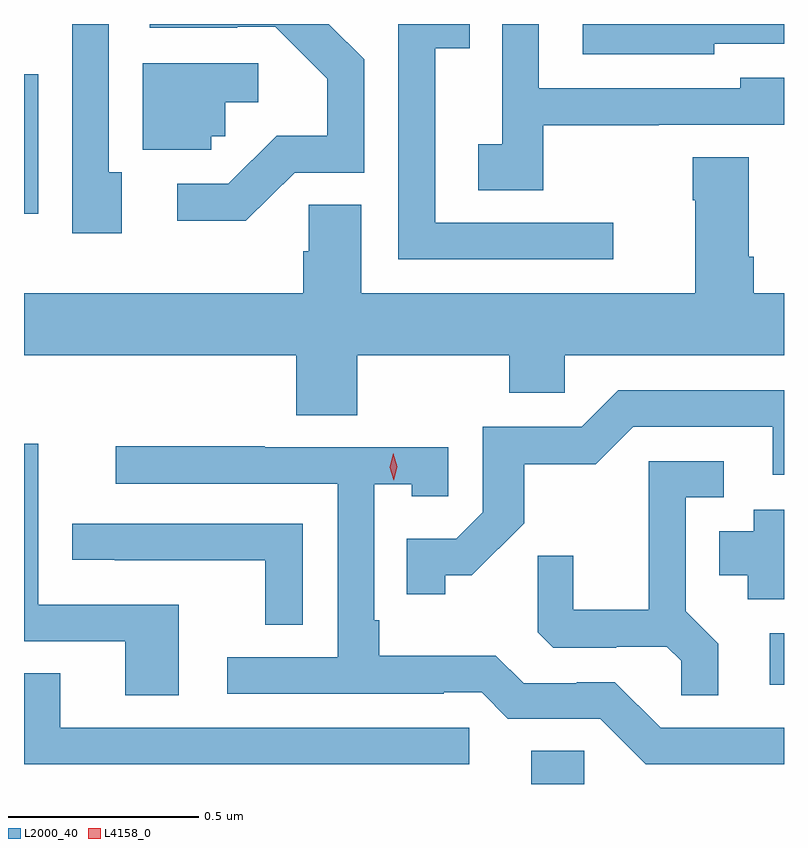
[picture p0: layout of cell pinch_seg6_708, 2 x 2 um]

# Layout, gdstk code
import gdstk
lib = gdstk.Library(unit=1e-6, precision=1e-09)
def R(c, l, rs):  # rectangles x0, y0, x1, y1
    for r in rs: c.add(gdstk.rectangle(r[:2], r[2:], *l))
def P(c, l, *ps):  # polygons
    for p in ps: c.add(gdstk.Polygon(p, *l))
L2000_40 = (2000, 40)
L4158_0 = (4158, 0)

pinch_seg6_708 = lib.new_cell('pinch_seg6_708')
R(pinch_seg6_708, L2000_40, [(481.103,948.872,481.242,948.959), (481.731,949.133,481.768,949.269), (479.768,950.373,479.805,950.74)])
P(pinch_seg6_708, L2000_40, [(481.135,950.605),(481.439,950.605),(481.439,950.607),(481.768,950.607),(481.768,950.731),(481.653,950.731),(481.653,950.703),(481.122,950.703),(481.122,950.872),(481.026,950.872),(481.026,950.556),(480.963,950.556),(480.963,950.434),(481.135,950.434)],
  [(481.318,950.349),(480.85,950.349),(480.85,950.808),(480.941,950.808),(480.941,950.872),(480.753,950.872),(480.753,950.253),(481.318,950.253)],
  [(480.025,950.482),(479.991,950.482),(479.991,950.872),(479.895,950.872),(479.895,950.322),(480.025,950.322)],
  [(480.48,950.481),(480.663,950.481),(480.663,950.779),(480.57,950.872),(480.099,950.872),(480.099,950.862),(480.329,950.862),(480.329,950.865),(480.429,950.865),(480.566,950.728),(480.566,950.578),(480.433,950.578),(480.306,950.451),(480.171,950.451),(480.171,950.354),(480.352,950.354)],
  [(481.584,950.82),(481.768,950.82),(481.768,950.872),(481.239,950.872),(481.239,950.793),(481.584,950.793)],
  [(480.261,950.577),(480.297,950.577),(480.297,950.666),(480.385,950.666),(480.385,950.769),(480.08,950.769),(480.08,950.541),(480.261,950.541)],
  [(480.645,950),(481.045,950),(481.045,949.902),(481.191,949.902),(481.191,950),(481.768,950),(481.768,950.164),(481.688,950.164),(481.688,950.26),(481.675,950.26),(481.675,950.521),(481.528,950.521),(481.528,950.408),(481.535,950.408),(481.535,950.164),(480.655,950.164),(480.655,950.396),(480.517,950.396),(480.517,950.274),(480.503,950.274),(480.503,950.164),(479.768,950.164),(479.768,950),(480.485,950),(480.485,949.843),(480.645,949.843)],
  [(480.876,949.421),(480.946,949.421),(481.084,949.558),(481.084,949.714),(481.273,949.714),(481.371,949.812),(481.739,949.812),(481.739,949.686),(481.768,949.686),(481.768,949.908),(481.332,949.908),(481.236,949.812),(480.975,949.812),(480.975,949.587),(480.906,949.518),(480.775,949.518),(480.775,949.371),(480.876,949.371)],
  [(480.175,949.344),(479.805,949.344),(479.805,949.768),(479.768,949.768),(479.768,949.248),(480.035,949.248),(480.035,949.105),(480.175,949.105)],
  [(481.768,949.02),(481.443,949.02),(481.323,949.14),(481.222,949.14),(481.222,949.137),(481.083,949.137),(481.01,949.21),(480.703,949.21),(480.703,949.303),(480.69,949.303),(480.69,949.661),(480.789,949.661),(480.789,949.629),(480.885,949.629),(480.885,949.758),(480.401,949.758),(480.401,949.761),(480.009,949.761),(480.009,949.662),(480.594,949.662),(480.594,949.206),(480.303,949.206),(480.303,949.11),(480.872,949.11),(480.872,949.113),(480.972,949.113),(481.041,949.044),(481.284,949.044),(481.404,948.924),(481.768,948.924)],
  [(481.595,949.241),(481.509,949.327),(481.509,949.626),(481.609,949.626),(481.609,949.722),(481.412,949.722),(481.412,949.33),(481.214,949.33),(481.214,949.473),(481.12,949.473),(481.12,949.271),(481.161,949.23),(481.326,949.23),(481.326,949.233),(481.46,949.233),(481.497,949.196),(481.497,949.105),(481.595,949.105)],
  [(481.768,949.594),(481.688,949.594),(481.688,949.537),(481.598,949.537),(481.598,949.421),(481.673,949.421),(481.673,949.358),(481.768,949.358)],
  [(480.501,949.557),(479.895,949.557),(479.895,949.462),(480.007,949.462),(480.007,949.461),(480.403,949.461),(480.403,949.291),(480.501,949.291)],
  [(480.94,949.02),(479.863,949.02),(479.863,949.163),(479.768,949.163),(479.768,948.924),(480.94,948.924)])
P(pinch_seg6_708, L4158_0, [(480.741,949.671),(480.741,949.671),(480.73,949.706),(480.74,949.742),(480.74,949.743),(480.74,949.742),(480.75,949.707),(480.741,949.671)])

lib.write_gds('pinch_seg6_708.gds')
